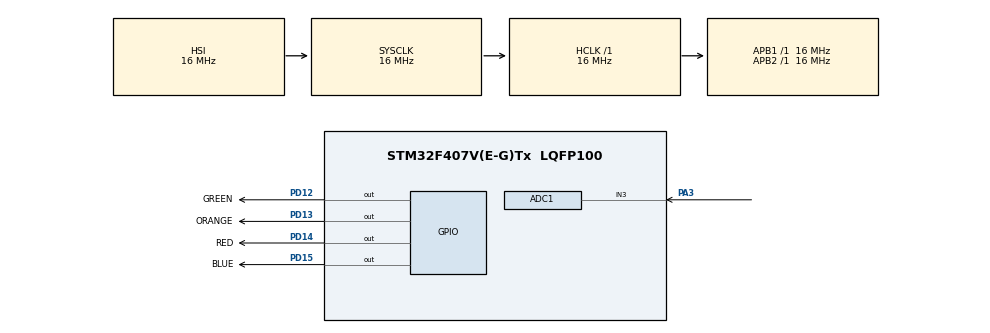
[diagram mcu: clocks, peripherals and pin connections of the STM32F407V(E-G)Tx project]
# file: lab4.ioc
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ADC1.Channel-0\#ChannelRegularConversion=ADC_CHANNEL_3
ADC1.ClockPrescaler=ADC_CLOCK_SYNC_PCLK_DIV8
ADC1.NbrOfConversionFlag=1
ADC1.Rank-0\#ChannelRegularConversion=1
ADC1.SamplingTime-0\#ChannelRegularConversion=ADC_SAMPLETIME_480CYCLES
ADC1.master=1
Mcu.Family=STM32F4
Mcu.Name=STM32F407V(E-G)Tx
Mcu.Package=LQFP100
NVIC.ADC_IRQn=true\:0\:0\:false\:false\:true\:true\:true\:true
NVIC.PriorityGroup=NVIC_PRIORITYGROUP_4
PA3.Signal=ADCx_IN3
PD12.GPIO_Label=GREEN
PD12.Signal=GPIO_Output
PD13.GPIO_Label=ORANGE
PD13.Signal=GPIO_Output
PD14.GPIO_Label=RED
PD14.Signal=GPIO_Output
PD15.GPIO_Label=BLUE
PD15.Signal=GPIO_Output
ProjectManager.HeapSize=0x200
ProjectManager.StackSize=0x400
ProjectManager.TargetToolchain=STM32CubeIDE
RCC.AHBFreq_Value=16000000
RCC.APB1Freq_Value=16000000
RCC.APB2Freq_Value=16000000
RCC.CortexFreq_Value=16000000
RCC.HSE_VALUE=25000000
RCC.HSI_VALUE=16000000
RCC.LSE_VALUE=32768
RCC.SYSCLKFreq_VALUE=16000000
RCC.VCOOutputFreq_Value=192000000
SH.ADCx_IN3.0=ADC1_IN3,IN3
board=custom

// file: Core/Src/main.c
/* USER CODE BEGIN Header */
/**
  ******************************************************************************
  * @file           : main.c
  * @brief          : Main program body
  ******************************************************************************
  * @attention
  *
  * Copyright (c) 2023 STMicroelectronics.
  * All rights reserved.
  *
  * This software is licensed under terms that can be found in the LICENSE file
  * in the root directory of this software component.
  * If no LICENSE file comes with this software, it is provided AS-IS.
  *
  ******************************************************************************
  */
/* USER CODE END Header */
#include "main.h"

ADC_HandleTypeDef hadc1;

void SystemClock_Config(void);
static void MX_GPIO_Init(void);
static void MX_ADC1_Init(void);

/* USER CODE BEGIN 0 */
void HAL_ADC_ConvCpltCallback(ADC_HandleTypeDef* hadc)
{
  uint32_t adcValue;

  if(hadc->Instance == ADC1)
  {
        adcValue = HAL_ADC_GetValue(&hadc1);

        if (adcValue < 819)
        {
            HAL_GPIO_WritePin(GREEN_GPIO_Port, GREEN_Pin, GPIO_PIN_RESET);
            HAL_GPIO_WritePin(ORANGE_GPIO_Port, ORANGE_Pin, GPIO_PIN_RESET);
            HAL_GPIO_WritePin(RED_GPIO_Port, RED_Pin, GPIO_PIN_RESET);
            HAL_GPIO_WritePin(BLUE_GPIO_Port, BLUE_Pin, GPIO_PIN_RESET);
        }
        else if (adcValue < 1638)
		{
			HAL_GPIO_WritePin(GREEN_GPIO_Port, GREEN_Pin, GPIO_PIN_SET);
			HAL_GPIO_WritePin(ORANGE_GPIO_Port, ORANGE_Pin, GPIO_PIN_RESET);
			HAL_GPIO_WritePin(RED_GPIO_Port, RED_Pin, GPIO_PIN_RESET);
			HAL_GPIO_WritePin(BLUE_GPIO_Port, BLUE_Pin, GPIO_PIN_RESET);
		}
        else if (adcValue < 2458)
		{
			HAL_GPIO_WritePin(GREEN_GPIO_Port, GREEN_Pin, GPIO_PIN_SET);
			HAL_GPIO_WritePin(ORANGE_GPIO_Port, ORANGE_Pin, GPIO_PIN_SET);
			HAL_GPIO_WritePin(RED_GPIO_Port, RED_Pin, GPIO_PIN_RESET);
			HAL_GPIO_WritePin(BLUE_GPIO_Port, BLUE_Pin, GPIO_PIN_RESET);
		}
        else if (adcValue < 3277)
		{
			HAL_GPIO_WritePin(GREEN_GPIO_Port, GREEN_Pin, GPIO_PIN_SET);
			HAL_GPIO_WritePin(ORANGE_GPIO_Port, ORANGE_Pin, GPIO_PIN_SET);
			HAL_GPIO_WritePin(RED_GPIO_Port, RED_Pin, GPIO_PIN_SET);
			HAL_GPIO_WritePin(BLUE_GPIO_Port, BLUE_Pin, GPIO_PIN_RESET);
		}
        else
		{
			HAL_GPIO_WritePin(GREEN_GPIO_Port, GREEN_Pin, GPIO_PIN_SET);
			HAL_GPIO_WritePin(ORANGE_GPIO_Port, ORANGE_Pin, GPIO_PIN_SET);
			HAL_GPIO_WritePin(RED_GPIO_Port, RED_Pin, GPIO_PIN_SET);
			HAL_GPIO_WritePin(BLUE_GPIO_Port, BLUE_Pin, GPIO_PIN_SET);
		}

        HAL_ADC_Start_IT(&hadc1);
  }
}
/* USER CODE END 0 */

int main(void)
{

  /* MCU Configuration--------------------------------------------------------*/

  /* Reset of all peripherals, Initializes the Flash interface and the Systick. */
  HAL_Init();

  /* Configure the system clock */
  SystemClock_Config();

  /* Initialize all configured peripherals */
  MX_GPIO_Init();
  MX_ADC1_Init();
  /* USER CODE BEGIN 2 */

  HAL_ADC_Start_IT(&hadc1);
  /* USER CODE END 2 */

  /* Infinite loop */
  while (1)
  {

  }
}

void SystemClock_Config(void)
{
  RCC_OscInitTypeDef RCC_OscInitStruct = {0};
  RCC_ClkInitTypeDef RCC_ClkInitStruct = {0};

  /** Configure the main internal regulator output voltage
  */
  __HAL_RCC_PWR_CLK_ENABLE();
  __HAL_PWR_VOLTAGESCALING_CONFIG(PWR_REGULATOR_VOLTAGE_SCALE1);

  /** Initializes the RCC Oscillators according to the specified parameters
  * in the RCC_OscInitTypeDef structure.
  */
  RCC_OscInitStruct.OscillatorType = RCC_OSCILLATORTYPE_HSI;
  RCC_OscInitStruct.HSIState = RCC_HSI_ON;
  RCC_OscInitStruct.HSICalibrationValue = RCC_HSICALIBRATION_DEFAULT;
  RCC_OscInitStruct.PLL.PLLState = RCC_PLL_NONE;
  if (HAL_RCC_OscConfig(&RCC_OscInitStruct) != HAL_OK)
  {
    Error_Handler();
  }

  /** Initializes the CPU, AHB and APB buses clocks
  */
  RCC_ClkInitStruct.ClockType = RCC_CLOCKTYPE_HCLK|RCC_CLOCKTYPE_SYSCLK
                              |RCC_CLOCKTYPE_PCLK1|RCC_CLOCKTYPE_PCLK2;
  RCC_ClkInitStruct.SYSCLKSource = RCC_SYSCLKSOURCE_HSI;
  RCC_ClkInitStruct.AHBCLKDivider = RCC_SYSCLK_DIV1;
  RCC_ClkInitStruct.APB1CLKDivider = RCC_HCLK_DIV1;
  RCC_ClkInitStruct.APB2CLKDivider = RCC_HCLK_DIV1;

  if (HAL_RCC_ClockConfig(&RCC_ClkInitStruct, FLASH_LATENCY_0) != HAL_OK)
  {
    Error_Handler();
  }
}

static void MX_ADC1_Init(void)
{

  ADC_ChannelConfTypeDef sConfig = {0};

  /** Configure the global features of the ADC (Clock, Resolution, Data Alignment and number of conversion)
  */
  hadc1.Instance = ADC1;
  hadc1.Init.ClockPrescaler = ADC_CLOCK_SYNC_PCLK_DIV8;
  hadc1.Init.Resolution = ADC_RESOLUTION_12B;
  hadc1.Init.ScanConvMode = DISABLE;
  hadc1.Init.ContinuousConvMode = DISABLE;
  hadc1.Init.DiscontinuousConvMode = DISABLE;
  hadc1.Init.ExternalTrigConvEdge = ADC_EXTERNALTRIGCONVEDGE_NONE;
  hadc1.Init.ExternalTrigConv = ADC_SOFTWARE_START;
  hadc1.Init.DataAlign = ADC_DATAALIGN_RIGHT;
  hadc1.Init.NbrOfConversion = 1;
  hadc1.Init.DMAContinuousRequests = DISABLE;
  hadc1.Init.EOCSelection = ADC_EOC_SINGLE_CONV;
  if (HAL_ADC_Init(&hadc1) != HAL_OK)
  {
    Error_Handler();
  }

  /** Configure for the selected ADC regular channel its corresponding rank in the sequencer and its sample time.
  */
  sConfig.Channel = ADC_CHANNEL_3;
  sConfig.Rank = 1;
  sConfig.SamplingTime = ADC_SAMPLETIME_480CYCLES;
  if (HAL_ADC_ConfigChannel(&hadc1, &sConfig) != HAL_OK)
  {
    Error_Handler();
  }

}

static void MX_GPIO_Init(void)
{
  GPIO_InitTypeDef GPIO_InitStruct = {0};

  /* GPIO Ports Clock Enable */
  __HAL_RCC_GPIOA_CLK_ENABLE();
  __HAL_RCC_GPIOD_CLK_ENABLE();

  /*Configure GPIO pin Output Level */
  HAL_GPIO_WritePin(GPIOD, GREEN_Pin|ORANGE_Pin|RED_Pin|BLUE_Pin, GPIO_PIN_RESET);

  /*Configure GPIO pins : GREEN_Pin ORANGE_Pin RED_Pin BLUE_Pin */
  GPIO_InitStruct.Pin = GREEN_Pin|ORANGE_Pin|RED_Pin|BLUE_Pin;
  GPIO_InitStruct.Mode = GPIO_MODE_OUTPUT_PP;
  GPIO_InitStruct.Pull = GPIO_NOPULL;
  GPIO_InitStruct.Speed = GPIO_SPEED_FREQ_LOW;
  HAL_GPIO_Init(GPIOD, &GPIO_InitStruct);

}

void Error_Handler(void)
{
  __disable_irq();
  while (1)
  {
  }
}
